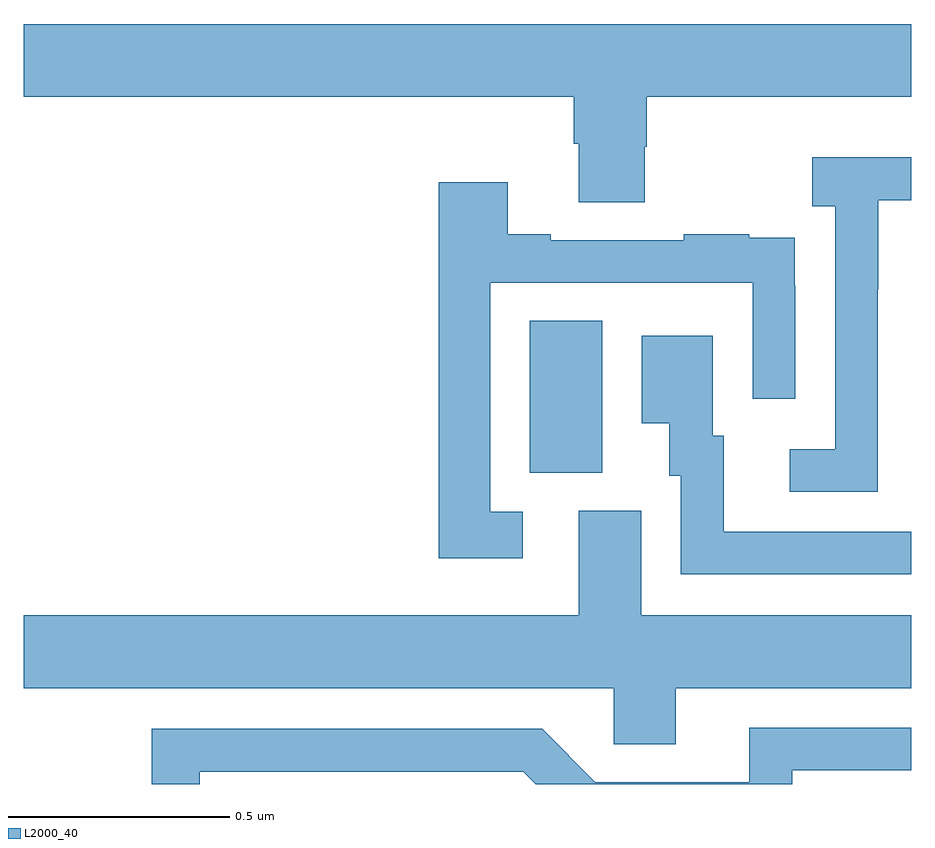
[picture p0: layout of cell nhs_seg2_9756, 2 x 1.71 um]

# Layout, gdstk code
import gdstk
lib = gdstk.Library(unit=1e-6, precision=1e-09)
def R(c, l, rs):  # rectangles x0, y0, x1, y1
    for r in rs: c.add(gdstk.rectangle(r[:2], r[2:], *l))
def P(c, l, *ps):  # polygons
    for p in ps: c.add(gdstk.Polygon(p, *l))
L2000_40 = (2000, 40)

nhs_seg2_9756 = lib.new_cell('nhs_seg2_9756')
R(nhs_seg2_9756, L2000_40, [(234.14,601.501,234.304,601.844)])
P(nhs_seg2_9756, L2000_40, [(234.399,602.235),(234.404,602.235),(234.404,602.348),(235,602.348),(235,602.512),(233,602.512),(233,602.348),(234.239,602.348),(234.239,602.242),(234.251,602.242),(234.251,602.11),(234.399,602.11)],
  [(234.924,601.915),(234.925,601.915),(234.925,602.115),(235,602.115),(235,602.212),(234.777,602.212),(234.777,602.102),(234.828,602.102),(234.828,601.554),(234.726,601.554),(234.726,601.458),(234.924,601.458)],
  [(234.124,601.413),(234.051,601.413),(234.051,601.929),(234.642,601.929),(234.642,601.668),(234.738,601.668),(234.738,601.922),(234.737,601.922),(234.737,602.031),(234.635,602.031),(234.635,602.038),(234.487,602.038),(234.487,602.025),(234.187,602.025),(234.187,602.038),(234.091,602.038),(234.091,602.155),(233.935,602.155),(233.935,601.308),(234.124,601.308)],
  [(235,601.368),(234.577,601.368),(234.577,601.584),(234.553,601.584),(234.553,601.81),(234.392,601.81),(234.392,601.613),(234.455,601.613),(234.455,601.494),(234.48,601.494),(234.48,601.272),(235,601.272)],
  [(234.33,600.889),(234.469,600.889),(234.469,601.016),(235,601.016),(235,601.18),(234.391,601.18),(234.391,601.416),(234.251,601.416),(234.251,601.18),(233,601.18),(233,601.016),(234.33,601.016)],
  [(233.397,600.828),(234.126,600.828),(234.154,600.8),(234.732,600.8),(234.732,600.831),(235,600.831),(235,600.927),(234.635,600.927),(234.635,600.804),(234.288,600.804),(234.168,600.924),(233.289,600.924),(233.289,600.8),(233.397,600.8)])

lib.write_gds('nhs_seg2_9756.gds')
